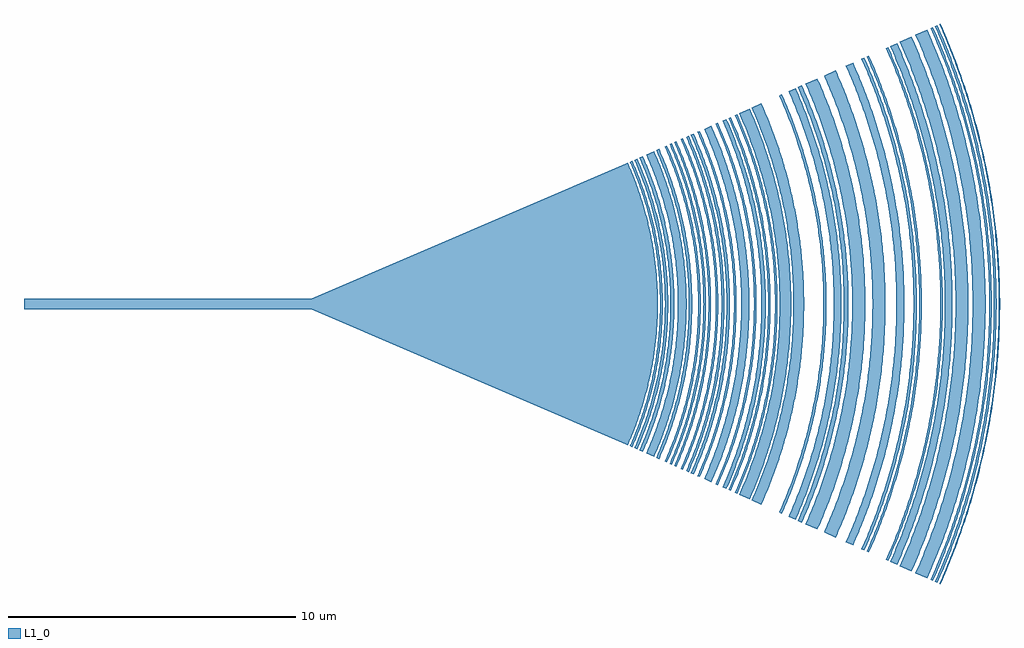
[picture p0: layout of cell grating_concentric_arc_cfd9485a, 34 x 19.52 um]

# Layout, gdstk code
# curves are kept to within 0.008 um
import gdstk
lib = gdstk.Library(unit=1e-6, precision=1e-09)
def R(c, l, rs):  # rectangles x0, y0, x1, y1
    for r in rs: c.add(gdstk.rectangle(r[:2], r[2:], *l))
def P(c, l, *ps):  # polygons
    for p in ps: c.add(gdstk.Polygon(p, *l))
L1_0 = (1, 0)

straight_b617759b = lib.new_cell('straight_b617759b')
R(straight_b617759b, L1_0, [(0,-0.175,10,0.175)])

ring_1ca9b793_transform_ = lib.new_cell('ring_1ca9b793_transform_1414539b')
P(ring_1ca9b793_transform_, L1_0, [(10.963,-4.881),(11.178,-4.366),(11.413,-3.708),(11.591,-3.106),(11.738,-2.495),(11.83,-2.015),(11.927,-1.324),(11.98,-0.698),(12,-0.07),(11.984,0.628),(11.948,1.115),(11.893,1.601),(11.78,2.29),(11.644,2.903),(11.434,3.642),(11.228,4.235),(10.963,4.881),(11.036,4.913),(11.278,4.329),(11.489,3.733),(11.668,3.127),(11.816,2.512),(11.931,1.89),(12.014,1.263),(12.067,0.562),(12.08,-0.07),(12.06,-0.702),(12.014,-1.263),(11.92,-1.959),(11.786,-2.649),(11.573,-3.465),(11.327,-4.198),(11.036,-4.913)])

ring_d6c0df60_transform_ = lib.new_cell('ring_d6c0df60_transform_f6ab65bd')
P(ring_d6c0df60_transform_, L1_0, [(11.109,-4.946),(11.327,-4.424),(11.587,-3.69),(11.764,-3.079),(11.909,-2.459),(12.032,-1.762),(12.101,-1.201),(12.147,-0.566),(12.16,-0.071),(12.147,0.566),(12.101,1.201),(12.032,1.762),(11.937,2.32),(11.799,2.942),(11.587,3.69),(11.327,4.424),(11.109,4.946),(11.191,4.982),(11.487,4.257),(11.694,3.65),(11.869,3.033),(11.997,2.477),(12.11,1.846),(12.19,1.21),(12.237,0.57),(12.25,-0.071),(12.225,-0.783),(12.159,-1.493),(12.064,-2.127),(11.92,-2.825),(11.715,-3.582),(11.462,-4.323),(11.191,-4.982)])

ring_83afd208_transform_ = lib.new_cell('ring_83afd208_transform_73ce7b9c')
P(ring_83afd208_transform_, L1_0, [(11.264,-5.015),(11.511,-4.419),(11.704,-3.878),(11.872,-3.33),(12.03,-2.704),(12.167,-2),(12.255,-1.36),(12.305,-0.789),(12.33,-0.072),(12.32,0.502),(12.283,1.075),(12.22,1.645),(12.117,2.282),(11.964,2.983),(11.77,3.673),(11.562,4.284),(11.264,5.015),(11.364,5.06),(11.613,4.458),(11.831,3.844),(12.016,3.22),(12.168,2.586),(12.275,2.017),(12.379,1.228),(12.426,0.579),(12.439,-0.145),(12.414,-0.796),(12.347,-1.516),(12.238,-2.231),(12.104,-2.869),(11.875,-3.706),(11.714,-4.186),(11.561,-4.593),(11.364,-5.06)])

ring_83ef31ac_transform_ = lib.new_cell('ring_83ef31ac_transform_72f0a5b0')
P(ring_83ef31ac_transform_, L1_0, [(11.437,-5.092),(11.688,-4.487),(11.907,-3.869),(12.074,-3.311),(12.215,-2.745),(12.342,-2.102),(12.435,-1.453),(12.494,-0.801),(12.519,-0.146),(12.512,0.437),(12.472,1.091),(12.408,1.67),(12.316,2.246),(12.148,3.029),(11.951,3.73),(11.688,4.487),(11.437,5.092),(11.561,5.147),(11.788,4.604),(12.013,3.981),(12.224,3.275),(12.363,2.703),(12.499,1.98),(12.586,1.323),(12.638,0.662),(12.655,-0.074),(12.629,-0.809),(12.561,-1.542),(12.45,-2.27),(12.297,-2.99),(12.165,-3.488),(12.013,-3.981),(11.706,-4.809),(11.561,-5.147)])

ring_c49cb247_transform_ = lib.new_cell('ring_c49cb247_transform_714e4bb9')
P(ring_c49cb247_transform_, L1_0, [(11.677,-5.199),(11.907,-4.65),(12.134,-4.021),(12.308,-3.452),(12.455,-2.875),(12.562,-2.366),(12.678,-1.632),(12.746,-0.966),(12.779,-0.297),(12.775,0.446),(12.734,1.114),(12.658,1.779),(12.548,2.439),(12.403,3.092),(12.18,3.879),(11.96,4.511),(11.677,5.199),(11.949,5.32),(12.239,4.616),(12.463,3.97),(12.692,3.164),(12.84,2.496),(12.953,1.82),(13.037,1.064),(13.075,0.38),(13.077,-0.304),(13.024,-1.216),(12.931,-1.971),(12.762,-2.868),(12.574,-3.605),(12.291,-4.474),(12.128,-4.9),(11.949,-5.32)])

ring_022bbd39_transform_ = lib.new_cell('ring_022bbd39_transform_528df017')
P(ring_022bbd39_transform_, L1_0, [(12.022,-5.353),(12.286,-4.716),(12.54,-3.994),(12.712,-3.406),(12.857,-2.811),(12.986,-2.134),(13.08,-1.452),(13.138,-0.765),(13.16,-0.077),(13.155,0.383),(13.117,1.071),(13.043,1.756),(12.933,2.436),(12.751,3.258),(12.563,3.921),(12.313,4.645),(12.022,5.353),(12.128,5.4),(12.394,4.757),(12.673,3.955),(12.843,3.361),(13.017,2.609),(13.124,2),(13.211,1.311),(13.261,0.618),(13.275,-0.154),(13.243,-0.926),(13.167,-1.694),(13.032,-2.533),(12.9,-3.137),(12.673,-3.955),(12.366,-4.83),(12.128,-5.4)])

ring_be389dde_transform_ = lib.new_cell('ring_be389dde_transform_456d85af')
P(ring_be389dde_transform_, L1_0, [(12.32,-5.485),(12.562,-4.906),(12.802,-4.242),(13.027,-3.49),(13.175,-2.881),(13.308,-2.187),(13.404,-1.488),(13.468,-0.706),(13.486,-0.078),(13.475,0.549),(13.428,1.254),(13.355,1.877),(13.253,2.496),(13.085,3.263),(12.874,4.018),(12.646,4.686),(12.32,5.485),(12.398,5.52),(12.698,4.79),(12.907,4.194),(13.088,3.589),(13.258,2.899),(13.404,2.123),(13.488,1.497),(13.548,0.789),(13.571,-0.079),(13.548,-0.789),(13.488,-1.497),(13.365,-2.357),(13.241,-2.976),(13.129,-3.436),(13.001,-3.892),(12.698,-4.79),(12.398,-5.52)])

ring_a7972ddd_transform_ = lib.new_cell('ring_a7972ddd_transform_a5145ef1')
P(ring_a7972ddd_transform_, L1_0, [(12.49,-5.561),(12.735,-4.974),(12.978,-4.3),(13.164,-3.692),(13.339,-2.998),(13.464,-2.374),(13.57,-1.666),(13.644,-0.874),(13.671,-0.159),(13.66,0.557),(13.62,1.192),(13.539,1.903),(13.405,2.687),(13.246,3.385),(13.027,4.149),(12.764,4.899),(12.49,5.561),(12.564,5.594),(12.84,4.929),(13.08,4.25),(13.305,3.482),(13.469,2.781),(13.584,2.151),(13.686,1.358),(13.742,0.56),(13.753,-0.08),(13.73,-0.8),(13.678,-1.438),(13.584,-2.151),(13.436,-2.938),(13.325,-3.405),(13.198,-3.868),(12.924,-4.704),(12.752,-5.152),(12.564,-5.594)])

ring_55adf904_transform_ = lib.new_cell('ring_55adf904_transform_b50802f2')
P(ring_55adf904_transform_, L1_0, [(12.652,-5.633),(12.958,-4.888),(13.196,-4.203),(13.398,-3.506),(13.563,-2.801),(13.691,-2.087),(13.773,-1.448),(13.826,-0.805),(13.849,-0.081),(13.838,0.564),(13.789,1.287),(13.703,2.007),(13.595,2.643),(13.438,3.35),(13.196,4.203),(12.958,4.888),(12.652,5.633),(12.725,5.665),(12.975,5.067),(13.222,4.381),(13.412,3.761),(13.625,2.896),(13.758,2.179),(13.853,1.456),(13.91,0.729),(13.929,-0.081),(13.91,-0.729),(13.835,-1.617),(13.703,-2.499),(13.554,-3.212),(13.344,-3.995),(13.033,-4.916),(12.725,-5.665)])

ring_03b90d96_transform_ = lib.new_cell('ring_03b90d96_transform_aa1a8e13')
P(ring_03b90d96_transform_, L1_0, [(12.883,-5.736),(13.136,-5.13),(13.412,-4.358),(13.6,-3.729),(13.794,-2.932),(13.941,-2.125),(14.025,-1.474),(14.078,-0.82),(14.102,-0.082),(14.087,0.656),(14.041,1.311),(13.965,1.963),(13.843,2.691),(13.663,3.491),(13.437,4.28),(13.165,5.054),(12.883,5.736),(12.956,5.768),(13.24,5.082),(13.488,4.382),(13.699,3.671),(13.889,2.868),(14.02,2.137),(14.113,1.4),(14.17,0.577),(14.182,-0.083),(14.153,-0.907),(14.086,-1.646),(13.994,-2.3),(13.837,-3.11),(13.655,-3.83),(13.513,-4.304),(13.355,-4.773),(13.18,-5.236),(12.956,-5.768)])

ring_18ab0fc2_transform_ = lib.new_cell('ring_18ab0fc2_transform_fb7e891a')
P(ring_18ab0fc2_transform_, L1_0, [(13.065,-5.817),(13.382,-5.048),(13.602,-4.42),(13.815,-3.702),(13.972,-3.055),(14.113,-2.319),(14.215,-1.578),(14.278,-0.832),(14.302,-0.083),(14.29,0.582),(14.24,1.329),(14.163,1.99),(14.055,2.647),(13.897,3.379),(13.677,4.181),(13.382,5.048),(13.065,5.817),(13.152,5.856),(13.5,5.003),(13.718,4.369),(13.928,3.645),(14.116,2.829),(14.257,2.004),(14.342,1.255),(14.385,0.586),(14.396,-0.168),(14.362,-1.004),(14.279,-1.838),(14.148,-2.665),(14.009,-3.32),(13.768,-4.209),(13.5,-5.003),(13.152,-5.856)])

ring_aa124027_transform_ = lib.new_cell('ring_aa124027_transform_c3174303')
P(ring_aa124027_transform_, L1_0, [(13.227,-5.889),(13.487,-5.267),(13.744,-4.554),(13.941,-3.91),(14.144,-3.093),(14.287,-2.348),(14.381,-1.681),(14.449,-0.926),(14.478,-0.168),(14.467,0.589),(14.424,1.262),(14.338,2.015),(14.213,2.763),(14.049,3.503),(13.796,4.394),(13.517,5.189),(13.227,5.889),(13.327,5.934),(13.62,5.228),(13.875,4.508),(14.113,3.694),(14.27,3.033),(14.409,2.282),(14.509,1.525),(14.573,0.679),(14.588,-0.17),(14.559,-0.933),(14.48,-1.778),(14.367,-2.533),(14.215,-3.282),(13.976,-4.184),(13.794,-4.75),(13.65,-5.149),(13.327,-5.934)])

ring_078341b9_transform_ = lib.new_cell('ring_078341b9_transform_46a41ac3')
P(ring_078341b9_transform_, L1_0, [(13.462,-5.994),(13.758,-5.281),(14.015,-4.554),(14.212,-3.897),(14.396,-3.148),(14.555,-2.305),(14.656,-1.54),(14.716,-0.771),(14.736,-0.086),(14.724,0.6),(14.673,1.37),(14.581,2.136),(14.466,2.812),(14.299,3.565),(14.067,4.39),(13.934,4.798),(13.758,5.281),(13.462,5.994),(13.535,6.026),(13.863,5.229),(14.118,4.496),(14.312,3.835),(14.493,3.081),(14.634,2.318),(14.744,1.463),(14.804,0.603),(14.816,-0.086),(14.786,-0.948),(14.706,-1.806),(14.606,-2.488),(14.437,-3.333),(14.194,-4.249),(13.923,-5.068),(13.738,-5.55),(13.535,-6.026)])

ring_4954789f_transform_ = lib.new_cell('ring_4954789f_transform_b3bd651f')
P(ring_4954789f_transform_, L1_0, [(13.691,-6.096),(13.96,-5.452),(14.199,-4.797),(14.43,-4.047),(14.641,-3.201),(14.789,-2.431),(14.886,-1.74),(14.962,-0.871),(14.985,-0.262),(14.978,0.523),(14.93,1.306),(14.829,2.172),(14.695,2.945),(14.499,3.795),(14.28,4.548),(13.991,5.371),(13.691,6.096),(13.948,6.21),(14.286,5.389),(14.521,4.718),(14.771,3.866),(14.953,3.087),(15.094,2.301),(15.202,1.419),(15.259,0.533),(15.266,-0.266),(15.231,-1.065),(15.132,-2.037),(14.988,-2.913),(14.877,-3.435),(14.748,-3.952),(14.575,-4.549),(14.407,-5.055),(14.222,-5.554),(13.948,-6.21)])

ring_2daf5d9c_transform_ = lib.new_cell('ring_2daf5d9c_transform_343de8c7')
P(ring_2daf5d9c_transform_, L1_0, [(14.098,-6.277),(14.408,-5.531),(14.621,-4.939),(14.835,-4.254),(15.057,-3.384),(15.198,-2.68),(15.318,-1.881),(15.395,-1.077),(15.432,-0.18),(15.42,0.628),(15.366,1.434),(15.27,2.237),(15.132,3.033),(14.93,3.907),(14.705,4.683),(14.44,5.447),(14.098,6.277),(14.171,6.31),(14.514,5.475),(14.781,4.708),(14.984,4.015),(15.174,3.225),(15.322,2.427),(15.437,1.532),(15.5,0.632),(15.512,-0.18),(15.481,-0.992),(15.408,-1.801),(15.277,-2.694),(15.115,-3.49),(14.887,-4.363),(14.577,-5.306),(14.417,-5.727),(14.171,-6.31)])

ring_ced6bbd5_transform_ = lib.new_cell('ring_ced6bbd5_transform_93f55926')
P(ring_ced6bbd5_transform_, L1_0, [(14.334,-6.382),(14.681,-5.538),(14.922,-4.849),(15.156,-4.061),(15.348,-3.262),(15.483,-2.545),(15.595,-1.731),(15.664,-0.912),(15.69,-0.091),(15.681,0.548),(15.631,1.368),(15.538,2.184),(15.436,2.814),(15.246,3.707),(15.108,4.237),(14.978,4.675),(14.681,5.538),(14.334,6.382),(14.469,6.442),(14.819,5.59),(15.091,4.807),(15.322,4.01),(15.511,3.203),(15.657,2.387),(15.761,1.564),(15.821,0.737),(15.838,-0.092),(15.806,-1.013),(15.77,-1.472),(15.709,-2.022),(15.581,-2.841),(15.39,-3.742),(15.25,-4.277),(15.091,-4.807),(14.883,-5.417),(14.719,-5.848),(14.469,-6.442)])

ring_d3031614_transform_ = lib.new_cell('ring_d3031614_transform_9add803d')
P(ring_d3031614_transform_, L1_0, [(14.547,-6.477),(14.833,-5.793),(15.145,-4.921),(15.405,-4.032),(15.576,-3.311),(15.728,-2.491),(15.827,-1.757),(15.897,-0.926),(15.924,-0.093),(15.907,0.741),(15.855,1.48),(15.782,2.124),(15.649,2.947),(15.451,3.852),(15.201,4.744),(14.932,5.533),(14.547,6.477),(14.62,6.509),(14.941,5.735),(15.192,5.034),(15.459,4.142),(15.635,3.418),(15.807,2.504),(15.926,1.58),(15.987,0.745),(16.004,-0.093),(15.977,-0.931),(15.896,-1.858),(15.777,-2.687),(15.594,-3.6),(15.459,-4.142),(15.332,-4.59),(15.039,-5.474),(14.839,-5.995),(14.62,-6.509)])

ring_82f87b87_transform_ = lib.new_cell('ring_82f87b87_transform_81977c64')
P(ring_82f87b87_transform_, L1_0, [(14.768,-6.575),(15.058,-5.881),(15.345,-5.085),(15.59,-4.275),(15.812,-3.361),(15.951,-2.622),(16.067,-1.783),(16.138,-0.94),(16.165,-0.094),(16.148,0.752),(16.077,1.69),(15.981,2.436),(15.85,3.177),(15.639,4.093),(15.403,4.906),(15.092,5.793),(14.768,6.575),(14.841,6.608),(15.2,5.733),(15.508,4.84),(15.74,4.022),(15.91,3.285),(16.06,2.448),(16.166,1.604),(16.228,0.756),(16.245,-0.095),(16.218,-0.945),(16.146,-1.792),(16.015,-2.728),(15.85,-3.562),(15.74,-4.022),(15.59,-4.569),(15.298,-5.467),(15.098,-5.998),(14.841,-6.608)])

ring_3528af66_transform_ = lib.new_cell('ring_3528af66_transform_a1ff4587')
P(ring_3528af66_transform_, L1_0, [(14.914,-6.64),(15.207,-5.939),(15.497,-5.135),(15.744,-4.317),(15.949,-3.487),(16.094,-2.741),(16.204,-1.99),(16.286,-1.139),(16.321,-0.38),(16.325,0.095),(16.312,0.665),(16.255,1.517),(16.153,2.366),(16.007,3.208),(15.817,4.042),(15.584,4.864),(15.275,5.762),(14.914,6.64),(15.278,6.802),(15.648,5.902),(15.906,5.168),(16.154,4.329),(16.379,3.382),(16.548,2.424),(16.652,1.555),(16.714,0.584),(16.72,-0.389),(16.696,-0.972),(16.652,-1.555),(16.575,-2.231),(16.503,-2.712),(16.317,-3.667),(16.204,-4.14),(16.022,-4.797),(15.716,-5.72),(15.47,-6.355),(15.278,-6.802)])

ring_17603271_transform_ = lib.new_cell('ring_17603271_transform_e1d4d4ca')
P(ring_17603271_transform_, L1_0, [(15.351,-6.835),(15.723,-5.931),(15.982,-5.193),(16.206,-4.444),(16.395,-3.685),(16.566,-2.822),(16.679,-2.048),(16.756,-1.27),(16.8,-0.391),(16.794,0.586),(16.74,1.465),(16.627,2.435),(16.457,3.398),(16.257,4.255),(16.012,5.1),(15.723,5.931),(15.351,6.835),(15.69,6.985),(16.034,6.155),(16.334,5.307),(16.615,4.348),(16.84,3.375),(16.993,2.489),(17.109,1.497),(17.164,0.599),(17.17,-0.4),(17.151,-0.899),(17.109,-1.497),(17.034,-2.192),(16.963,-2.687),(16.778,-3.668),(16.64,-4.252),(16.509,-4.734),(16.334,-5.307),(16.139,-5.874),(15.924,-6.434),(15.69,-6.985)])

ring_881ff935_transform_ = lib.new_cell('ring_881ff935_transform_747aac06')
P(ring_881ff935_transform_, L1_0, [(16.308,-7.261),(16.666,-6.397),(16.945,-5.615),(17.216,-4.72),(17.461,-3.711),(17.615,-2.895),(17.742,-1.969),(17.815,-1.142),(17.851,-0.104),(17.832,0.831),(17.774,1.659),(17.692,2.382),(17.543,3.304),(17.321,4.319),(17.041,5.318),(16.845,5.91),(16.666,6.397),(16.308,7.261),(16.402,7.302),(16.761,6.434),(17.107,5.449),(17.369,4.546),(17.583,3.631),(17.749,2.705),(17.866,1.773),(17.929,0.94),(17.954,0),(17.929,-0.94),(17.844,-1.981),(17.699,-3.015),(17.494,-4.039),(17.229,-5.049),(17.075,-5.548),(16.835,-6.239),(16.607,-6.822),(16.402,-7.302)])

ring_0c65e0d9_transform_ = lib.new_cell('ring_0c65e0d9_transform_1781481b')
P(ring_0c65e0d9_transform_, L1_0, [(16.635,-7.407),(16.962,-6.625),(17.285,-5.728),(17.445,-5.223),(17.589,-4.713),(17.789,-3.89),(17.969,-2.953),(18.074,-2.219),(18.158,-1.376),(18.207,-0.318),(18.199,0.636),(18.158,1.376),(18.074,2.219),(17.969,2.953),(17.855,3.578),(17.743,4.096),(17.616,4.611),(17.445,5.223),(17.252,5.828),(17.038,6.427),(16.844,6.92),(16.635,7.407),(16.877,7.514),(17.048,7.12),(17.286,6.52),(17.603,5.607),(17.873,4.678),(18.093,3.736),(18.28,2.678),(18.395,1.717),(18.455,0.86),(18.472,0.322),(18.472,-0.322),(18.455,-0.86),(18.422,-1.396),(18.362,-2.038),(18.295,-2.571),(18.194,-3.208),(18.093,-3.736),(17.873,-4.678),(17.636,-5.504),(17.433,-6.116),(17.209,-6.721),(16.877,-7.514)])

ring_a25adc48_transform_ = lib.new_cell('ring_a25adc48_transform_67a73894')
P(ring_a25adc48_transform_, L1_0, [(16.955,-7.549),(17.288,-6.752),(17.617,-5.838),(17.899,-4.908),(18.108,-4.07),(18.296,-3.116),(18.434,-2.155),(18.514,-1.295),(18.557,-0.324),(18.552,0.54),(18.489,1.618),(18.394,2.476),(18.239,3.435),(18.108,4.07),(17.982,4.595),(17.717,5.529),(17.513,6.144),(17.327,6.651),(16.955,7.549),(17.102,7.614),(17.477,6.709),(17.804,5.785),(17.965,5.265),(18.11,4.74),(18.333,3.786),(18.49,2.928),(18.629,1.848),(18.705,0.762),(18.719,-0.218),(18.682,-1.197),(18.581,-2.281),(18.49,-2.928),(18.397,-3.465),(18.19,-4.423),(18.025,-5.055),(17.804,-5.785),(17.591,-6.403),(17.397,-6.912),(17.102,-7.614)])

ring_dd5b795e_transform_ = lib.new_cell('ring_dd5b795e_transform_5a56be5a')
P(ring_dd5b795e_transform_, L1_0, [(17.224,-7.669),(17.602,-6.757),(17.862,-6.035),(18.124,-5.197),(18.371,-4.241),(18.568,-3.274),(18.714,-2.298),(18.816,-1.206),(18.849,-0.439),(18.854,0.11),(18.843,0.658),(18.816,1.206),(18.773,1.752),(18.671,2.624),(18.587,3.166),(18.487,3.705),(18.24,4.774),(17.965,5.722),(17.602,6.757),(17.224,7.669),(17.64,7.854),(18.067,6.815),(18.399,5.86),(18.68,4.889),(18.933,3.795),(19.054,3.132),(19.137,2.576),(19.236,1.683),(19.277,1.123),(19.301,0.562),(19.301,-0.562),(19.277,-1.123),(19.226,-1.795),(19.137,-2.576),(19.054,-3.132),(18.933,-3.795),(18.814,-4.344),(18.68,-4.889),(18.53,-5.43),(18.329,-6.074),(18.145,-6.604),(17.861,-7.337),(17.64,-7.854)])

ring_fca35f09_transform_ = lib.new_cell('ring_fca35f09_transform_04735f3a')
P(ring_fca35f09_transform_, L1_0, [(17.869,-7.956),(18.22,-7.116),(18.567,-6.152),(18.864,-5.172),(19.084,-4.289),(19.263,-3.397),(19.4,-2.497),(19.504,-1.478),(19.552,-0.569),(19.552,0.569),(19.495,1.591),(19.385,2.609),(19.301,3.172),(19.178,3.844),(18.951,4.842),(18.672,5.827),(18.457,6.476),(18.261,7.01),(17.869,7.956),(18.279,8.138),(18.464,7.711),(18.722,7.062),(19.03,6.183),(19.202,5.627),(19.386,4.954),(19.522,4.388),(19.642,3.818),(19.763,3.13),(19.83,2.669),(19.943,1.628),(20.001,0.582),(20.004,-0.466),(19.982,-1.047),(19.923,-1.86),(19.86,-2.439),(19.781,-3.015),(19.685,-3.589),(19.572,-4.16),(19.443,-4.728),(19.266,-5.403),(19.03,-6.183),(18.842,-6.734),(18.552,-7.496),(18.279,-8.138)])

ring_0a4e6119_transform_ = lib.new_cell('ring_0a4e6119_transform_a53e8228')
P(ring_0a4e6119_transform_, L1_0, [(18.63,-8.294),(19.038,-7.308),(19.394,-6.302),(19.698,-5.278),(19.922,-4.356),(20.123,-3.307),(20.255,-2.367),(20.351,-1.304),(20.391,-0.237),(20.376,0.83),(20.325,1.659),(20.226,2.603),(20.083,3.541),(19.971,4.124),(19.843,4.703),(19.698,5.278),(19.536,5.849),(19.32,6.527),(19.122,7.086),(18.908,7.639),(18.63,8.294),(18.881,8.406),(19.118,7.854),(19.338,7.294),(19.693,6.272),(19.964,5.349),(20.111,4.766),(20.265,4.062),(20.45,2.995),(20.542,2.28),(20.589,1.801),(20.651,0.841),(20.665,0.361),(20.665,-0.361),(20.64,-1.082),(20.609,-1.562),(20.555,-2.16),(20.467,-2.876),(20.354,-3.589),(20.265,-4.062),(20.024,-5.117),(19.8,-5.928),(19.542,-6.729),(19.252,-7.519),(18.93,-8.296),(18.881,-8.406)])

ring_597bf699_transform_ = lib.new_cell('ring_597bf699_transform_7b4cd9d3')
P(ring_597bf699_transform_, L1_0, [(19.174,-8.537),(19.595,-7.522),(19.805,-6.949),(19.999,-6.37),(20.274,-5.432),(20.53,-4.364),(20.711,-3.404),(20.801,-2.8),(20.874,-2.194),(20.96,-1.098),(20.989,0),(20.966,0.977),(20.898,1.951),(20.767,3.042),(20.603,4.005),(20.365,5.078),(20.209,5.668),(20.036,6.253),(19.805,6.949),(19.595,7.522),(19.174,8.537),(19.275,8.582),(19.653,7.676),(20.028,6.637),(20.177,6.169),(20.38,5.461),(20.638,4.387),(20.757,3.785),(20.858,3.179),(20.996,2.083),(21.07,1.104),(21.099,0),(21.07,-1.104),(21.029,-1.717),(20.97,-2.327),(20.876,-3.058),(20.799,-3.543),(20.585,-4.627),(20.442,-5.223),(20.247,-5.934),(20.104,-6.403),(19.868,-7.101),(19.608,-7.79),(19.275,-8.582)])

ring_b22787e1_transform_ = lib.new_cell('ring_b22787e1_transform_b7fcfa91')
P(ring_b22787e1_transform_, L1_0, [(19.356,-8.618),(19.736,-7.708),(19.952,-7.131),(20.151,-6.547),(20.466,-5.484),(20.725,-4.405),(20.927,-3.314),(21.072,-2.215),(21.159,-1.109),(21.188,0),(21.159,1.109),(21.072,2.215),(20.946,3.193),(20.75,4.285),(20.528,5.245),(20.262,6.195),(20.073,6.781),(19.824,7.478),(19.645,7.937),(19.356,8.618),(19.433,8.652),(19.859,7.623),(20.231,6.573),(20.547,5.506),(20.807,4.423),(21.01,3.328),(21.098,2.715),(21.168,2.1),(21.249,0.99),(21.272,0),(21.263,-0.619),(21.236,-1.237),(21.142,-2.347),(21.065,-2.96),(20.97,-3.572),(20.781,-4.544),(20.64,-5.146),(20.448,-5.863),(20.113,-6.925),(19.769,-7.854),(19.433,-8.652)])

ring_11bfb0bb_transform_ = lib.new_cell('ring_11bfb0bb_transform_befb7e1f')
P(ring_11bfb0bb_transform_, L1_0, [(20.028,-8.917),(20.467,-7.857),(20.85,-6.775),(21.074,-6.043),(21.209,-5.551),(21.444,-4.558),(21.653,-3.43),(21.803,-2.292),(21.886,-1.275),(21.923,-0.128),(21.905,0.893),(21.87,1.529),(21.816,2.165),(21.692,3.177),(21.496,4.308),(21.272,5.304),(21.002,6.288),(20.77,7.017),(20.557,7.618),(20.279,8.331),(20.028,8.917),(20.101,8.949),(20.542,7.885),(20.926,6.799),(21.079,6.311),(21.286,5.571),(21.549,4.449),(21.752,3.316),(21.896,2.173),(21.958,1.407),(21.985,0.896),(22.003,-0.128),(21.966,-1.279),(21.869,-2.427),(21.789,-3.062),(21.691,-3.695),(21.468,-4.825),(21.318,-5.447),(21.151,-6.065),(20.926,-6.799),(20.72,-7.405),(20.449,-8.124),(20.101,-8.949)])

ring_2adcdce3_transform_ = lib.new_cell('ring_2adcdce3_transform_2caa7fa0')
P(ring_2adcdce3_transform_, L1_0, [(20.174,-8.982),(20.427,-8.391),(20.662,-7.794),(21.042,-6.702),(21.331,-5.716),(21.601,-4.591),(21.791,-3.581),(21.934,-2.564),(22.038,-1.412),(22.082,-0.257),(22.07,0.771),(22.01,1.797),(21.886,2.946),(21.748,3.835),(21.601,4.591),(21.458,5.218),(21.297,5.84),(21.118,6.456),(20.88,7.19),(20.662,7.794),(20.427,8.391),(20.174,8.982),(20.414,9.089),(20.861,8.008),(21.085,7.398),(21.292,6.781),(21.48,6.159),(21.65,5.532),(21.884,4.519),(22.09,3.367),(22.179,2.723),(22.249,2.077),(22.327,0.91),(22.344,-0.26),(22.327,-0.91),(22.282,-1.688),(22.163,-2.852),(22.05,-3.624),(21.935,-4.264),(21.682,-5.406),(21.444,-6.284),(21.17,-7.152),(20.861,-8.008),(20.569,-8.731),(20.414,-9.089)])

ring_a761bbdf_transform_ = lib.new_cell('ring_a761bbdf_transform_eb7ce23c')
P(ring_a761bbdf_transform_, L1_0, [(20.514,-9.133),(20.917,-8.169),(21.274,-7.187),(21.621,-6.064),(21.909,-4.924),(22.114,-3.899),(22.288,-2.737),(22.401,-1.566),(22.452,-0.392),(22.442,0.784),(22.401,1.566),(22.358,2.087),(22.288,2.737),(22.199,3.384),(22.091,4.028),(21.965,4.669),(21.724,5.686),(21.549,6.315),(21.356,6.939),(20.964,8.047),(20.514,9.133),(20.917,9.313),(21.179,8.701),(21.424,8.081),(21.65,7.455),(21.817,6.949),(22.151,5.797),(22.31,5.151),(22.451,4.5),(22.572,3.845),(22.674,3.187),(22.81,1.996),(22.883,0.799),(22.894,-0.4),(22.866,-1.198),(22.832,-1.73),(22.772,-2.393),(22.674,-3.187),(22.572,-3.845),(22.451,-4.5),(22.28,-5.28),(22.082,-6.055),(21.817,-6.949),(21.561,-7.706),(21.23,-8.577),(20.917,-9.313)])

ring_dbc04ec9_transform_ = lib.new_cell('ring_dbc04ec9_transform_6aaf8941')
P(ring_dbc04ec9_transform_, L1_0, [(21.054,-9.374),(21.468,-8.384),(21.877,-7.249),(22.191,-6.224),(22.486,-5.054),(22.72,-3.87),(22.875,-2.809),(22.991,-1.608),(23.041,-0.536),(23.047,0),(23.033,0.804),(23,1.474),(22.947,2.142),(22.875,2.809),(22.784,3.473),(22.571,4.66),(22.426,5.315),(22.296,5.835),(22.117,6.481),(21.919,7.122),(21.657,7.882),(21.468,8.384),(21.054,9.374),(21.465,9.557),(21.734,8.929),(21.985,8.293),(22.389,7.131),(22.587,6.477),(22.731,5.949),(22.895,5.286),(23.039,4.618),(23.249,3.405),(23.322,2.864),(23.395,2.184),(23.449,1.503),(23.483,0.82),(23.493,-0.41),(23.465,-1.23),(23.43,-1.775),(23.368,-2.456),(23.287,-3.135),(23.186,-3.811),(23.039,-4.618),(22.895,-5.286),(22.696,-6.081),(22.43,-7),(22.172,-7.779),(21.837,-8.675),(21.465,-9.557)])

ring_fb3b2028_transform_ = lib.new_cell('ring_fb3b2028_transform_39e97cdc')
P(ring_fb3b2028_transform_, L1_0, [(21.587,-9.611),(22.011,-8.596),(22.205,-8.082),(22.473,-7.302),(22.825,-6.116),(22.993,-5.449),(23.142,-4.778),(23.36,-3.561),(23.454,-2.88),(23.514,-2.333),(23.572,-1.648),(23.604,-1.099),(23.63,0),(23.604,1.099),(23.572,1.648),(23.514,2.333),(23.454,2.88),(23.36,3.561),(23.142,4.778),(22.86,5.983),(22.597,6.909),(22.387,7.563),(22.109,8.34),(21.805,9.106),(21.587,9.611),(21.66,9.644),(22.135,8.497),(22.373,7.849),(22.592,7.195),(22.902,6.137),(23.071,5.468),(23.192,4.93),(23.418,3.709),(23.498,3.163),(23.58,2.478),(23.67,1.379),(23.7,0.69),(23.71,0),(23.7,-0.69),(23.67,-1.379),(23.58,-2.478),(23.498,-3.163),(23.418,-3.709),(23.3,-4.389),(23.163,-5.064),(22.972,-5.87),(22.829,-6.403),(22.592,-7.195),(22.373,-7.849),(22.035,-8.754),(21.66,-9.644)])

ring_d65d4c97_transform_ = lib.new_cell('ring_d65d4c97_transform_5daa7aae')
P(ring_d65d4c97_transform_, L1_0, [(21.733,-9.676),(22.21,-8.525),(22.494,-7.745),(22.668,-7.22),(22.83,-6.69),(23.015,-6.023),(23.27,-4.946),(23.379,-4.403),(23.497,-3.722),(23.595,-3.037),(23.674,-2.349),(23.722,-1.798),(23.764,-1.107),(23.79,0),(23.764,1.107),(23.722,1.798),(23.674,2.349),(23.539,3.448),(23.326,4.675),(23.116,5.621),(22.83,6.69),(22.582,7.483),(22.355,8.137),(22.057,8.912),(21.733,9.676),(21.815,9.713),(22.089,9.074),(22.294,8.558),(22.579,7.775),(22.754,7.247),(23.102,6.046),(23.387,4.829),(23.586,3.736),(23.685,3.048),(23.749,2.496),(23.812,1.804),(23.847,1.25),(23.87,0.695),(23.88,0),(23.87,-0.695),(23.847,-1.25),(23.812,-1.804),(23.749,-2.496),(23.685,-3.048),(23.564,-3.873),(23.329,-5.101),(23.171,-5.777),(22.993,-6.449),(22.754,-7.247),(22.579,-7.775),(22.193,-8.817),(21.815,-9.713)])

ring_b72f9790_transform_ = lib.new_cell('ring_b72f9790_transform_e0ad3b68')
P(ring_b72f9790_transform_, L1_0, [(21.888,-9.745),(22.163,-9.105),(22.418,-8.456),(22.655,-7.801),(22.787,-7.404),(22.953,-6.872),(23.107,-6.336),(23.314,-5.526),(23.436,-4.982),(23.546,-4.435),(23.665,-3.748),(23.746,-3.196),(23.829,-2.504),(23.902,-1.671),(23.927,-1.254),(23.95,-0.697),(23.96,0),(23.95,0.697),(23.927,1.254),(23.902,1.671),(23.829,2.504),(23.746,3.196),(23.665,3.748),(23.596,4.161),(23.465,4.845),(23.346,5.39),(23.214,5.932),(23.07,6.47),(22.872,7.138),(22.655,7.801),(22.418,8.456),(22.163,9.105),(21.888,9.745),(21.925,9.762),(22.2,9.12),(22.356,8.731),(22.553,8.208),(22.782,7.549),(22.992,6.883),(23.146,6.346),(23.32,5.671),(23.476,4.99),(23.611,4.305),(23.705,3.754),(23.804,3.063),(23.869,2.509),(23.942,1.674),(23.974,1.117),(23.994,0.558),(24,-0.14),(23.99,-0.698),(23.951,-1.535),(23.909,-2.092),(23.854,-2.648),(23.747,-3.478),(23.659,-4.03),(23.559,-4.579),(23.416,-5.263),(23.287,-5.806),(23.146,-6.346),(22.992,-6.883),(22.738,-7.681),(22.456,-8.47),(22.2,-9.12),(21.925,-9.762)])

grating_concentric_arc_c = lib.new_cell('grating_concentric_arc_cfd9485a')
P(grating_concentric_arc_c, L1_0, [(0,0.175),(0,-0.175),(10.963,-4.881),(11.203,-4.3),(11.413,-3.708),(11.564,-3.207),(11.716,-2.597),(11.818,-2.084),(11.923,-1.358),(11.978,-0.733),(12,-0.105),(11.989,0.523),(11.945,1.15),(11.868,1.774),(11.738,2.495),(11.564,3.207),(11.413,3.708),(11.203,4.3),(10.963,4.881)])
grating_concentric_arc_c.add(gdstk.Reference(straight_b617759b, (-10,0)))
grating_concentric_arc_c.add(gdstk.Reference(ring_1ca9b793_transform_, (0,0)))
grating_concentric_arc_c.add(gdstk.Reference(ring_d6c0df60_transform_, (0,0)))
grating_concentric_arc_c.add(gdstk.Reference(ring_83afd208_transform_, (0,0)))
grating_concentric_arc_c.add(gdstk.Reference(ring_83ef31ac_transform_, (0,0)))
grating_concentric_arc_c.add(gdstk.Reference(ring_c49cb247_transform_, (0,0)))
grating_concentric_arc_c.add(gdstk.Reference(ring_022bbd39_transform_, (0,0)))
grating_concentric_arc_c.add(gdstk.Reference(ring_be389dde_transform_, (0,0)))
grating_concentric_arc_c.add(gdstk.Reference(ring_a7972ddd_transform_, (0,0)))
grating_concentric_arc_c.add(gdstk.Reference(ring_55adf904_transform_, (0,0)))
grating_concentric_arc_c.add(gdstk.Reference(ring_03b90d96_transform_, (0,0)))
grating_concentric_arc_c.add(gdstk.Reference(ring_18ab0fc2_transform_, (0,0)))
grating_concentric_arc_c.add(gdstk.Reference(ring_aa124027_transform_, (0,0)))
grating_concentric_arc_c.add(gdstk.Reference(ring_078341b9_transform_, (0,0)))
grating_concentric_arc_c.add(gdstk.Reference(ring_4954789f_transform_, (0,0)))
grating_concentric_arc_c.add(gdstk.Reference(ring_2daf5d9c_transform_, (0,0)))
grating_concentric_arc_c.add(gdstk.Reference(ring_ced6bbd5_transform_, (0,0)))
grating_concentric_arc_c.add(gdstk.Reference(ring_d3031614_transform_, (0,0)))
grating_concentric_arc_c.add(gdstk.Reference(ring_82f87b87_transform_, (0,0)))
grating_concentric_arc_c.add(gdstk.Reference(ring_3528af66_transform_, (0,0)))
grating_concentric_arc_c.add(gdstk.Reference(ring_17603271_transform_, (0,0)))
grating_concentric_arc_c.add(gdstk.Reference(ring_881ff935_transform_, (0,0)))
grating_concentric_arc_c.add(gdstk.Reference(ring_0c65e0d9_transform_, (0,0)))
grating_concentric_arc_c.add(gdstk.Reference(ring_a25adc48_transform_, (0,0)))
grating_concentric_arc_c.add(gdstk.Reference(ring_dd5b795e_transform_, (0,0)))
grating_concentric_arc_c.add(gdstk.Reference(ring_fca35f09_transform_, (0,0)))
grating_concentric_arc_c.add(gdstk.Reference(ring_0a4e6119_transform_, (0,0)))
grating_concentric_arc_c.add(gdstk.Reference(ring_597bf699_transform_, (0,0)))
grating_concentric_arc_c.add(gdstk.Reference(ring_b22787e1_transform_, (0,0)))
grating_concentric_arc_c.add(gdstk.Reference(ring_11bfb0bb_transform_, (0,0)))
grating_concentric_arc_c.add(gdstk.Reference(ring_2adcdce3_transform_, (0,0)))
grating_concentric_arc_c.add(gdstk.Reference(ring_a761bbdf_transform_, (0,0)))
grating_concentric_arc_c.add(gdstk.Reference(ring_dbc04ec9_transform_, (0,0)))
grating_concentric_arc_c.add(gdstk.Reference(ring_fb3b2028_transform_, (0,0)))
grating_concentric_arc_c.add(gdstk.Reference(ring_d65d4c97_transform_, (0,0)))
grating_concentric_arc_c.add(gdstk.Reference(ring_b72f9790_transform_, (0,0)))

lib.write_gds('grating_concentric_arc_cfd9485a.gds')
